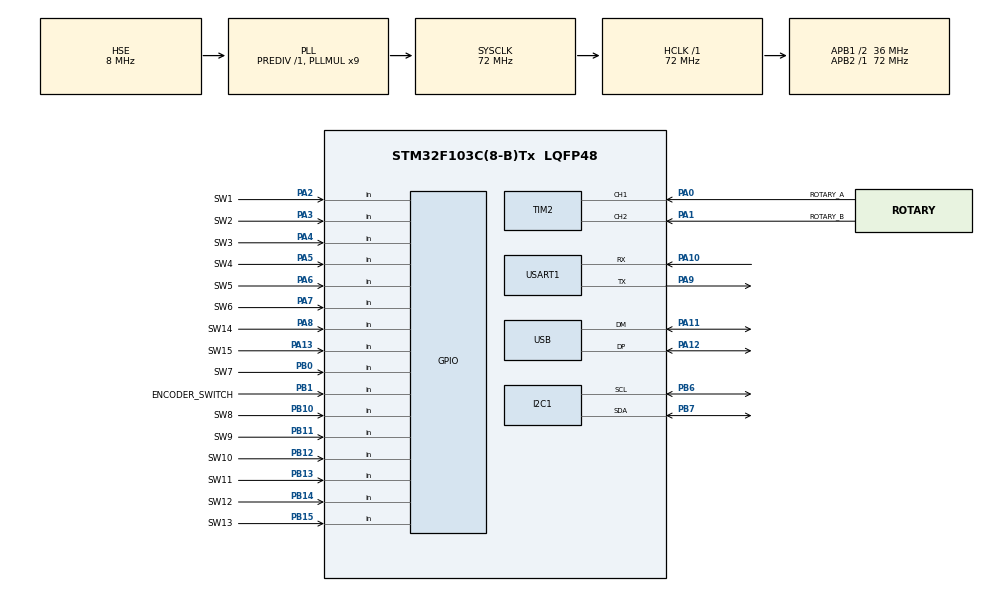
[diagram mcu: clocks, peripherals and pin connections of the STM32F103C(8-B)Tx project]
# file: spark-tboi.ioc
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I2C1.I2C_Mode=I2C_Standard
Mcu.Family=STM32F1
Mcu.Name=STM32F103C(8-B)Tx
Mcu.Package=LQFP48
NVIC.PriorityGroup=NVIC_PRIORITYGROUP_4
NVIC.USB_LP_CAN1_RX0_IRQn=true\:0\:0\:false\:false\:true\:false\:true\:true
PA0-WKUP.GPIO_Label=ROTARY_A
PA0-WKUP.Signal=S_TIM2_CH1_ETR
PA1.GPIO_Label=ROTARY_B
PA1.Signal=S_TIM2_CH2
PA10.Mode=Asynchronous
PA10.Signal=USART1_RX
PA11.Mode=Device
PA11.Signal=USB_DM
PA12.Mode=Device
PA12.Signal=USB_DP
PA13.GPIO_Label=SW15
PA13.GPIO_PuPd=GPIO_PULLUP
PA13.Signal=GPIO_Input
PA2.GPIO_Label=SW1
PA2.GPIO_PuPd=GPIO_PULLUP
PA2.Signal=GPIO_Input
PA3.GPIO_Label=SW2
PA3.GPIO_PuPd=GPIO_PULLUP
PA3.Signal=GPIO_Input
PA4.GPIO_Label=SW3
PA4.GPIO_PuPd=GPIO_PULLUP
PA4.Signal=GPIO_Input
PA5.GPIO_Label=SW4
PA5.GPIO_PuPd=GPIO_PULLUP
PA5.Signal=GPIO_Input
PA6.GPIO_Label=SW5
PA6.GPIO_PuPd=GPIO_PULLUP
PA6.Signal=GPIO_Input
PA7.GPIO_Label=SW6
PA7.GPIO_PuPd=GPIO_PULLUP
PA7.Signal=GPIO_Input
PA8.GPIO_Label=SW14
PA8.GPIO_PuPd=GPIO_PULLUP
PA8.Signal=GPIO_Input
PA9.Mode=Asynchronous
PA9.Signal=USART1_TX
PB0.GPIO_Label=SW7
PB0.GPIO_PuPd=GPIO_PULLUP
PB0.Signal=GPIO_Input
PB1.GPIO_Label=ENCODER_SWITCH
PB1.GPIO_PuPd=GPIO_PULLUP
PB1.Signal=GPIO_Input
PB10.GPIO_Label=SW8
PB10.GPIO_PuPd=GPIO_PULLUP
PB10.Signal=GPIO_Input
PB11.GPIO_Label=SW9
PB11.GPIO_PuPd=GPIO_PULLUP
PB11.Signal=GPIO_Input
PB12.GPIO_Label=SW10
PB12.GPIO_PuPd=GPIO_PULLUP
PB12.Signal=GPIO_Input
PB13.GPIO_Label=SW11
PB13.GPIO_PuPd=GPIO_PULLUP
PB13.Signal=GPIO_Input
PB14.GPIO_Label=SW12
PB14.GPIO_PuPd=GPIO_PULLUP
PB14.Signal=GPIO_Input
PB15.GPIO_Label=SW13
PB15.GPIO_PuPd=GPIO_PULLUP
PB15.Signal=GPIO_Input
PB6.Mode=I2C
PB6.Signal=I2C1_SCL
PB7.Mode=I2C
PB7.Signal=I2C1_SDA
PD0-OSC_IN.Mode=HSE-External-Oscillator
PD0-OSC_IN.Signal=RCC_OSC_IN
PD1-OSC_OUT.Mode=HSE-External-Oscillator
PD1-OSC_OUT.Signal=RCC_OSC_OUT
ProjectManager.HeapSize=0x200
ProjectManager.StackSize=0x400
ProjectManager.TargetToolchain=STM32CubeIDE
RCC.AHBFreq_Value=72000000
RCC.APB1CLKDivider=RCC_HCLK_DIV2
RCC.APB1Freq_Value=36000000
RCC.APB1TimFreq_Value=72000000
RCC.APB2Freq_Value=72000000
RCC.APB2TimFreq_Value=72000000
RCC.HCLKFreq_Value=72000000
RCC.PLLMUL=RCC_PLL_MUL9
RCC.SYSCLKFreq_VALUE=72000000
RCC.SYSCLKSource=RCC_SYSCLKSOURCE_PLLCLK
RCC.USBFreq_Value=48000000
RCC.USBPrescaler=RCC_USBCLKSOURCE_PLL_DIV1_5
SH.S_TIM2_CH1_ETR.0=TIM2_CH1,Encoder_Interface
SH.S_TIM2_CH2.0=TIM2_CH2,Encoder_Interface
TIM2.EncoderMode=TIM_ENCODERMODE_TI12
TIM2.IC1Filter=2
TIM2.IC2Filter=2
USART1.VirtualMode=VM_ASYNC
USB_DEVICE.CLASS_NAME_FS=HID
USB_DEVICE.HID_FS_BINTERVAL=10
USB_DEVICE.USBD_SELF_POWERED=0
USB_DEVICE.VirtualMode=Hid
USB_DEVICE.VirtualModeFS=Hid_FS
VP_SYS_VS_ND.Mode=No_Debug
VP_USB_DEVICE_VS_USB_DEVICE_HID_FS.Mode=HID_FS
board=custom

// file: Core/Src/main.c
/* USER CODE BEGIN Header */
/**
  ******************************************************************************
  * @file           : main.c
  * @brief          : Main program body
  ******************************************************************************
  * @attention
  *
  * Copyright (c) 2026 STMicroelectronics.
  * All rights reserved.
  *
  * This software is licensed under terms that can be found in the LICENSE file
  * in the root directory of this software component.
  * If no LICENSE file comes with this software, it is provided AS-IS.
  *
  ******************************************************************************
  */
/* USER CODE END Header */
#include "main.h"
#include "usb_device.h"

I2C_HandleTypeDef hi2c1;

TIM_HandleTypeDef htim2;

UART_HandleTypeDef huart1;

void SystemClock_Config(void);
static void MX_GPIO_Init(void);
static void MX_I2C1_Init(void);
static void MX_TIM2_Init(void);
static void MX_USART1_UART_Init(void);

int main(void)
{

  /* MCU Configuration--------------------------------------------------------*/

  /* Reset of all peripherals, Initializes the Flash interface and the Systick. */
  HAL_Init();

  /* Configure the system clock */
  SystemClock_Config();

  /* Initialize all configured peripherals */
  MX_GPIO_Init();
  MX_I2C1_Init();
  MX_TIM2_Init();
  MX_USART1_UART_Init();
  MX_USB_DEVICE_Init();
  /* USER CODE BEGIN 2 */
  ssd1306_Init();
  /* USER CODE END 2 */

  /* Infinite loop */
  /* USER CODE BEGIN WHILE */
  uint32_t last_loop_time = 0;
  const uint32_t loop_time_delay_ms = 1;
  while (1)
  {
    uint32_t now = HAL_GetTick();
    if (now - last_loop_time >= loop_time_delay_ms) {
      last_loop_time = now;

      handleEncoder();
      uint16_t descriptorReport = handleDescriptor();
      USBD_HID_SendReport(&hUsbDeviceFS, (uint8_t*)&descriptorReport, 2);
    }
    /* USER CODE END WHILE */

  }
}

void SystemClock_Config(void)
{
  RCC_OscInitTypeDef RCC_OscInitStruct = {0};
  RCC_ClkInitTypeDef RCC_ClkInitStruct = {0};
  RCC_PeriphCLKInitTypeDef PeriphClkInit = {0};

  /** Initializes the RCC Oscillators according to the specified parameters
  * in the RCC_OscInitTypeDef structure.
  */
  RCC_OscInitStruct.OscillatorType = RCC_OSCILLATORTYPE_HSE;
  RCC_OscInitStruct.HSEState = RCC_HSE_ON;
  RCC_OscInitStruct.HSEPredivValue = RCC_HSE_PREDIV_DIV1;
  RCC_OscInitStruct.HSIState = RCC_HSI_ON;
  RCC_OscInitStruct.PLL.PLLState = RCC_PLL_ON;
  RCC_OscInitStruct.PLL.PLLSource = RCC_PLLSOURCE_HSE;
  RCC_OscInitStruct.PLL.PLLMUL = RCC_PLL_MUL9;
  if (HAL_RCC_OscConfig(&RCC_OscInitStruct) != HAL_OK)
  {
    Error_Handler();
  }

  /** Initializes the CPU, AHB and APB buses clocks
  */
  RCC_ClkInitStruct.ClockType = RCC_CLOCKTYPE_HCLK|RCC_CLOCKTYPE_SYSCLK
                              |RCC_CLOCKTYPE_PCLK1|RCC_CLOCKTYPE_PCLK2;
  RCC_ClkInitStruct.SYSCLKSource = RCC_SYSCLKSOURCE_PLLCLK;
  RCC_ClkInitStruct.AHBCLKDivider = RCC_SYSCLK_DIV1;
  RCC_ClkInitStruct.APB1CLKDivider = RCC_HCLK_DIV2;
  RCC_ClkInitStruct.APB2CLKDivider = RCC_HCLK_DIV1;

  if (HAL_RCC_ClockConfig(&RCC_ClkInitStruct, FLASH_LATENCY_2) != HAL_OK)
  {
    Error_Handler();
  }
  PeriphClkInit.PeriphClockSelection = RCC_PERIPHCLK_USB;
  PeriphClkInit.UsbClockSelection = RCC_USBCLKSOURCE_PLL_DIV1_5;
  if (HAL_RCCEx_PeriphCLKConfig(&PeriphClkInit) != HAL_OK)
  {
    Error_Handler();
  }
}

static void MX_I2C1_Init(void)
{

  hi2c1.Instance = I2C1;
  hi2c1.Init.ClockSpeed = 100000;
  hi2c1.Init.DutyCycle = I2C_DUTYCYCLE_2;
  hi2c1.Init.OwnAddress1 = 0;
  hi2c1.Init.AddressingMode = I2C_ADDRESSINGMODE_7BIT;
  hi2c1.Init.DualAddressMode = I2C_DUALADDRESS_DISABLE;
  hi2c1.Init.OwnAddress2 = 0;
  hi2c1.Init.GeneralCallMode = I2C_GENERALCALL_DISABLE;
  hi2c1.Init.NoStretchMode = I2C_NOSTRETCH_DISABLE;
  if (HAL_I2C_Init(&hi2c1) != HAL_OK)
  {
    Error_Handler();
  }

}

static void MX_TIM2_Init(void)
{

  TIM_Encoder_InitTypeDef sConfig = {0};
  TIM_MasterConfigTypeDef sMasterConfig = {0};

  htim2.Instance = TIM2;
  htim2.Init.Prescaler = 0;
  htim2.Init.CounterMode = TIM_COUNTERMODE_UP;
  htim2.Init.Period = 65535;
  htim2.Init.ClockDivision = TIM_CLOCKDIVISION_DIV1;
  htim2.Init.AutoReloadPreload = TIM_AUTORELOAD_PRELOAD_DISABLE;
  sConfig.EncoderMode = TIM_ENCODERMODE_TI12;
  sConfig.IC1Polarity = TIM_ICPOLARITY_RISING;
  sConfig.IC1Selection = TIM_ICSELECTION_DIRECTTI;
  sConfig.IC1Prescaler = TIM_ICPSC_DIV1;
  sConfig.IC1Filter = 2;
  sConfig.IC2Polarity = TIM_ICPOLARITY_RISING;
  sConfig.IC2Selection = TIM_ICSELECTION_DIRECTTI;
  sConfig.IC2Prescaler = TIM_ICPSC_DIV1;
  sConfig.IC2Filter = 2;
  if (HAL_TIM_Encoder_Init(&htim2, &sConfig) != HAL_OK)
  {
    Error_Handler();
  }
  sMasterConfig.MasterOutputTrigger = TIM_TRGO_RESET;
  sMasterConfig.MasterSlaveMode = TIM_MASTERSLAVEMODE_DISABLE;
  if (HAL_TIMEx_MasterConfigSynchronization(&htim2, &sMasterConfig) != HAL_OK)
  {
    Error_Handler();
  }

}

static void MX_USART1_UART_Init(void)
{

  huart1.Instance = USART1;
  huart1.Init.BaudRate = 115200;
  huart1.Init.WordLength = UART_WORDLENGTH_8B;
  huart1.Init.StopBits = UART_STOPBITS_1;
  huart1.Init.Parity = UART_PARITY_NONE;
  huart1.Init.Mode = UART_MODE_TX_RX;
  huart1.Init.HwFlowCtl = UART_HWCONTROL_NONE;
  huart1.Init.OverSampling = UART_OVERSAMPLING_16;
  if (HAL_UART_Init(&huart1) != HAL_OK)
  {
    Error_Handler();
  }

}

static void MX_GPIO_Init(void)
{
  GPIO_InitTypeDef GPIO_InitStruct = {0};

  /* GPIO Ports Clock Enable */
  __HAL_RCC_GPIOD_CLK_ENABLE();
  __HAL_RCC_GPIOA_CLK_ENABLE();
  __HAL_RCC_GPIOB_CLK_ENABLE();

  /*Configure GPIO pins : SW1_Pin SW2_Pin SW3_Pin SW4_Pin
                           SW5_Pin SW6_Pin SW14_Pin SW15_Pin */
  GPIO_InitStruct.Pin = SW1_Pin|SW2_Pin|SW3_Pin|SW4_Pin
                          |SW5_Pin|SW6_Pin|SW14_Pin|SW15_Pin;
  GPIO_InitStruct.Mode = GPIO_MODE_INPUT;
  GPIO_InitStruct.Pull = GPIO_PULLUP;
  HAL_GPIO_Init(GPIOA, &GPIO_InitStruct);

  /*Configure GPIO pins : SW7_Pin ENCODER_SWITCH_Pin SW8_Pin SW9_Pin
                           SW10_Pin SW11_Pin SW12_Pin SW13_Pin */
  GPIO_InitStruct.Pin = SW7_Pin|ENCODER_SWITCH_Pin|SW8_Pin|SW9_Pin
                          |SW10_Pin|SW11_Pin|SW12_Pin|SW13_Pin;
  GPIO_InitStruct.Mode = GPIO_MODE_INPUT;
  GPIO_InitStruct.Pull = GPIO_PULLUP;
  HAL_GPIO_Init(GPIOB, &GPIO_InitStruct);

  /* USER CODE BEGIN MX_GPIO_Init_2 */
  // pullups handling made by ai
  GPIO_InitTypeDef GPIO_InitStruct = {0};

  /* Encoder pins */
  GPIO_InitStruct.Pin = ROTARY_A_Pin | ROTARY_B_Pin;  // replace with actual pins
  GPIO_InitStruct.Mode = GPIO_MODE_AF_PP;
  GPIO_InitStruct.Pull = GPIO_PULLUP;            // force internal pull-up
  GPIO_InitStruct.Speed = GPIO_SPEED_FREQ_LOW;
  GPIO_InitStruct.Alternate = GPIO_AF1_TIM2;    // TIM2 AF
  HAL_GPIO_Init(GPIOx, &GPIO_InitStruct);
  /* USER CODE END MX_GPIO_Init_2 */
}

void Error_Handler(void)
{
  __disable_irq();
  while (1)
  {
  }
}
